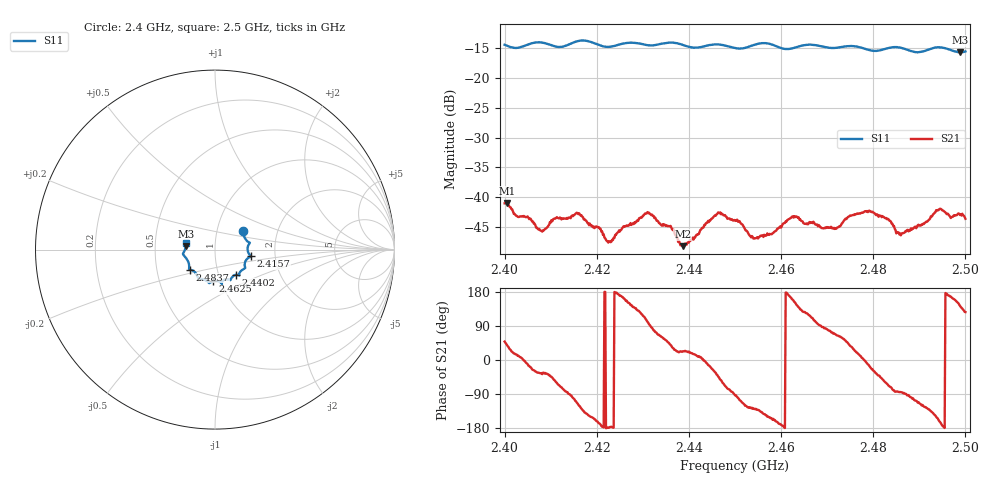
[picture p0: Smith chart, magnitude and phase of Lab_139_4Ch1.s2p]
# Hz S RI R 50
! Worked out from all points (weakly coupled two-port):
!   601 points, 2.4 GHz to 2.5 GHz, reference 50 ohm
!   highest |S21| = -40.94 dB at 2.4005 GHz (marker M1); lowest = -48.2 dB at 2.4387 GHz (marker M2)
!   lowest |S11| = -15.7 dB at 2.4988 GHz (marker M3), VSWR 1.39, Z = 36 + j1.34 ohm
!   |S11| at or under -10 dB: start of sweep to end of sweep
!   S12 and S22 are empty: the file has one direction only
!   S11 on the Smith chart (normalised r, x): 2.4 GHz: 1.34, +0.29; 2.4157 GHz: 1.49, -0.11; 2.4402 GHz: 1.20, -0.35; 2.4625 GHz: 0.92, -0.34; 2.4837 GHz: 0.74, -0.17; 2.5 GHz: 0.72, +0.05
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2.4e9  0.1569 0.106  0.00589 0.00667  0 0  0 0
2.4005e9  0.1574 0.0989  0.00691 0.00572  0 0  0 0
2.408e9  0.1941 0.0374  0.00431 -0.00296  0 0  0 0
2.415667e9  0.1987 -0.0368  -0.00284 -0.00687  0 0  0 0
2.416667e9  0.2014 -0.0402  -0.00438 -0.00555  0 0  0 0
2.422667e9  0.1673 -0.071  -0.00428 -8.66e-05  0 0  0 0
2.430833e9  0.1484 -0.1155  -0.00179 0.00712  0 0  0 0
2.433333e9  0.1358 -0.1334  0.00247 0.00576  0 0  0 0
2.438667e9  0.1259 -0.1404  0.00359 0.00151  0 0  0 0
2.440167e9  0.1143 -0.1407  0.00411 0.00143  0 0  0 0
2.446333e9  0.0847 -0.1706  0.00541 -0.00514  0 0  0 0
2.45e9  0.0642 -0.1657  -0.000333 -0.0064  0 0  0 0
2.4545e9  0.0374 -0.1867  -0.00285 -0.00353  0 0  0 0
2.4625e9  -0.00968 -0.1767  -0.00648 0.00243  0 0  0 0
2.466667e9  -0.0329 -0.1865  -0.00223 0.00574  0 0  0 0
2.478667e9  -0.103 -0.1387  0.00757 -0.0012  0 0  0 0
2.483333e9  -0.1383 -0.112  0.00248 -0.00604  0 0  0 0
2.483667e9  -0.1401 -0.1116  0.00207 -0.00599  0 0  0 0
2.486167e9  -0.1444 -0.1039  0.000404 -0.00495  0 0  0 0
2.494167e9  -0.1785 -0.0249  -0.00725 -0.00288  0 0  0 0
2.498833e9  -0.1624 0.0181  -0.00565 0.0043  0 0  0 0
2.5e9  -0.1624 0.0364  -0.00391 0.00532  0 0  0 0
